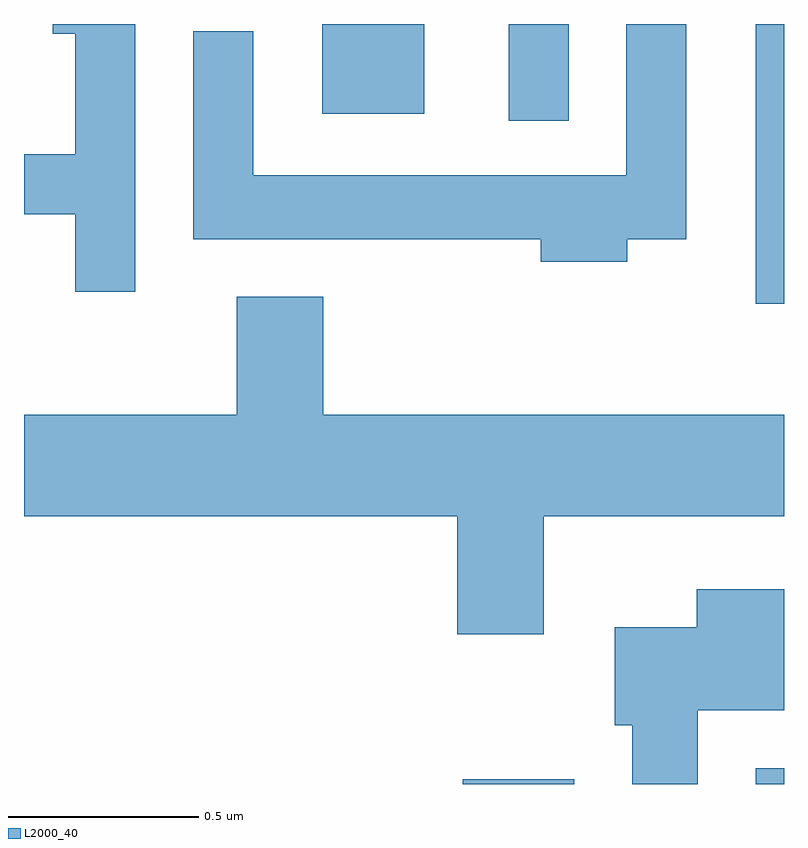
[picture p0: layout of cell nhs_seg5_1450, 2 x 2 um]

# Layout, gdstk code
import gdstk
lib = gdstk.Library(unit=1e-6, precision=1e-09)
def R(c, l, rs):  # rectangles x0, y0, x1, y1
    for r in rs: c.add(gdstk.rectangle(r[:2], r[2:], *l))
def P(c, l, *ps):  # polygons
    for p in ps: c.add(gdstk.Polygon(p, *l))
L2000_40 = (2000, 40)

nhs_seg5_1450 = lib.new_cell('nhs_seg5_1450')
R(nhs_seg5_1450, L2000_40, [(196.766,1476.072,197.059,1476.084), (197.536,1476.072,197.611,1476.114), (197.536,1477.336,197.611,1478.072), (196.886,1477.818,197.044,1478.072), (196.396,1477.836,196.664,1478.072)])
P(nhs_seg5_1450, L2000_40, [(195.904,1478.072),(195.686,1478.072),(195.686,1478.046),(195.746,1478.046),(195.746,1477.729),(195.611,1477.729),(195.611,1477.571),(195.746,1477.571),(195.746,1477.368),(195.904,1477.368)],
  [(197.199,1477.506),(197.354,1477.506),(197.354,1478.072),(197.196,1478.072),(197.196,1477.674),(196.214,1477.674),(196.214,1478.053),(196.056,1478.053),(196.056,1477.506),(196.971,1477.506),(196.971,1477.446),(197.199,1477.446)],
  [(196.979,1476.776),(197.611,1476.776),(197.611,1477.044),(196.399,1477.044),(196.399,1477.354),(196.171,1477.354),(196.171,1477.044),(195.611,1477.044),(195.611,1476.776),(196.751,1476.776),(196.751,1476.466),(196.979,1476.466)],
  [(197.384,1476.266),(197.611,1476.266),(197.611,1476.584),(197.381,1476.584),(197.381,1476.484),(197.166,1476.484),(197.166,1476.226),(197.211,1476.226),(197.211,1476.072),(197.384,1476.072)])

lib.write_gds('nhs_seg5_1450.gds')
